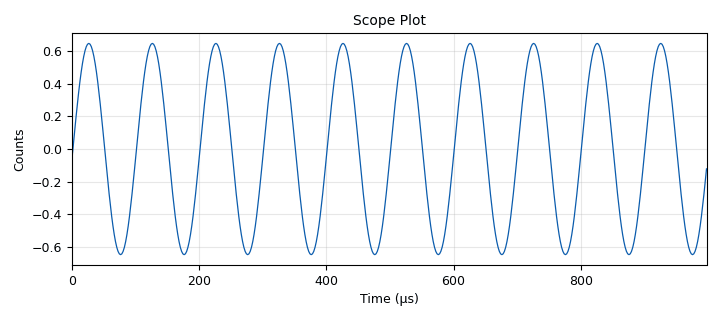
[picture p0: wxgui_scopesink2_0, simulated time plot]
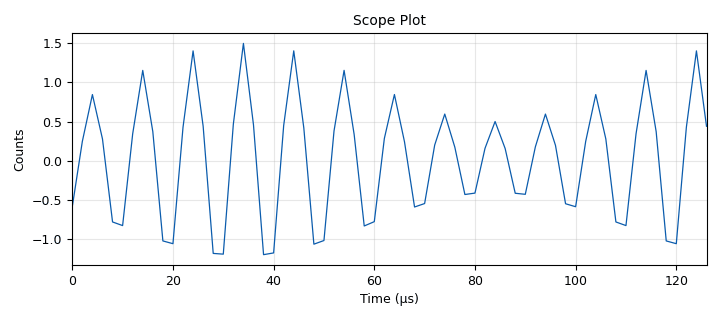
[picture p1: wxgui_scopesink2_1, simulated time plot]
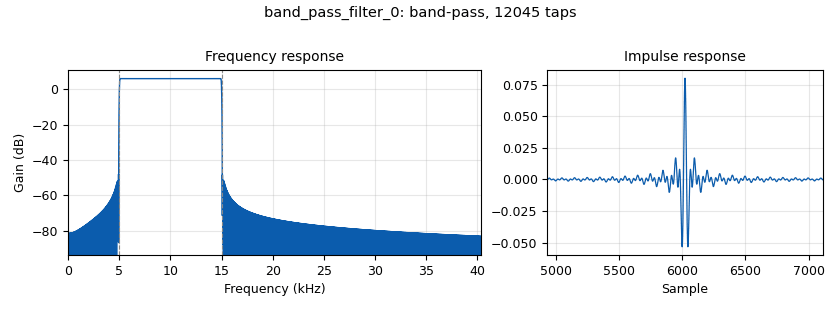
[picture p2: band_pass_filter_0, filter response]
<?xml version='1.0' encoding='utf-8'?>
<?grc format='1' created='3.7.9'?>
<flow_graph>
<block>
<key>options</key>
<param><key>id</key><value>top_block</value></param>
<param><key>category</key><value>Custom</value></param>
<param><key>generate_options</key><value>wx_gui</value></param>
</block>
<block>
<key>variable_slider</key>
<param><key>id</key><value>m</value></param>
<param><key>converver</key><value>float_converter</value></param>
<param><key>value</key><value>0.5</value></param>
<param><key>label</key><value></value></param>
<param><key>max</key><value>1</value></param>
<param><key>min</key><value>0.01</value></param>
<param><key>num_steps</key><value>100</value></param>
<param><key>style</key><value>wx.SL_HORIZONTAL</value></param>
</block>
<block>
<key>variable</key>
<param><key>id</key><value>samp_rate</value></param>
<param><key>value</key><value>500000</value></param>
</block>
<block>
<key>band_pass_filter</key>
<param><key>id</key><value>band_pass_filter_0</value></param>
<param><key>decim</key><value>1</value></param>
<param><key>type</key><value>fir_filter_fff</value></param>
<param><key>gain</key><value>1/m</value></param>
<param><key>high_cutoff_freq</key><value>15000</value></param>
<param><key>low_cutoff_freq</key><value>5000</value></param>
<param><key>samp_rate</key><value>samp_rate</value></param>
<param><key>width</key><value>100</value></param>
<param><key>win</key><value>firdes.WIN_HAMMING</value></param>
</block>
<block>
<key>blocks_abs_xx</key>
<param><key>id</key><value>blocks_abs_xx_0</value></param>
<param><key>type</key><value>float</value></param>
</block>
<block>
<key>blocks_add_xx</key>
<param><key>id</key><value>blocks_add_xx_0</value></param>
<param><key>type</key><value>float</value></param>
</block>
<block>
<key>blocks_multiply_const_vxx</key>
<param><key>id</key><value>blocks_multiply_const_vxx_0</value></param>
<param><key>const</key><value>m</value></param>
<param><key>type</key><value>float</value></param>
</block>
<block>
<key>blocks_multiply_xx</key>
<param><key>id</key><value>blocks_multiply_xx_0</value></param>
<param><key>type</key><value>float</value></param>
</block>
<block>
<key>analog_sig_source_x</key>
<param><key>id</key><value>carrier</value></param>
<param><key>amp</key><value>1</value></param>
<param><key>freq</key><value>100000</value></param>
<param><key>offset</key><value>0</value></param>
<param><key>type</key><value>float</value></param>
<param><key>samp_rate</key><value>samp_rate</value></param>
<param><key>waveform</key><value>analog.GR_COS_WAVE</value></param>
</block>
<block>
<key>analog_sig_source_x</key>
<param><key>id</key><value>message</value></param>
<param><key>amp</key><value>1</value></param>
<param><key>freq</key><value>10000</value></param>
<param><key>offset</key><value>0</value></param>
<param><key>type</key><value>float</value></param>
<param><key>samp_rate</key><value>samp_rate</value></param>
<param><key>waveform</key><value>analog.GR_COS_WAVE</value></param>
</block>
<block>
<key>wxgui_scopesink2</key>
<param><key>id</key><value>wxgui_scopesink2_0</value></param>
<param><key>ac_couple</key><value>False</value></param>
<param><key>num_inputs</key><value>1</value></param>
<param><key>samp_rate</key><value>samp_rate</value></param>
<param><key>t_scale</key><value>0</value></param>
<param><key>title</key><value>Scope Plot</value></param>
<param><key>trig_mode</key><value>wxgui.TRIG_MODE_AUTO</value></param>
<param><key>type</key><value>float</value></param>
<param><key>v_offset</key><value>0</value></param>
<param><key>v_scale</key><value>0</value></param>
<param><key>xy_mode</key><value>False</value></param>
<param><key>y_axis_label</key><value>Counts</value></param>
</block>
<block>
<key>wxgui_scopesink2</key>
<param><key>id</key><value>wxgui_scopesink2_1</value></param>
<param><key>ac_couple</key><value>False</value></param>
<param><key>num_inputs</key><value>1</value></param>
<param><key>samp_rate</key><value>samp_rate</value></param>
<param><key>t_scale</key><value>0</value></param>
<param><key>title</key><value>Scope Plot</value></param>
<param><key>trig_mode</key><value>wxgui.TRIG_MODE_AUTO</value></param>
<param><key>type</key><value>float</value></param>
<param><key>v_offset</key><value>0</value></param>
<param><key>v_scale</key><value>0</value></param>
<param><key>xy_mode</key><value>False</value></param>
<param><key>y_axis_label</key><value>Counts</value></param>
</block>
<connection><source_block_id>band_pass_filter_0</source_block_id><sink_block_id>wxgui_scopesink2_0</sink_block_id><source_key>0</source_key><sink_key>0</sink_key></connection>
<connection><source_block_id>blocks_abs_xx_0</source_block_id><sink_block_id>band_pass_filter_0</sink_block_id><source_key>0</source_key><sink_key>0</sink_key></connection>
<connection><source_block_id>blocks_add_xx_0</source_block_id><sink_block_id>blocks_abs_xx_0</sink_block_id><source_key>0</source_key><sink_key>0</sink_key></connection>
<connection><source_block_id>blocks_add_xx_0</source_block_id><sink_block_id>wxgui_scopesink2_1</sink_block_id><source_key>0</source_key><sink_key>0</sink_key></connection>
<connection><source_block_id>blocks_multiply_const_vxx_0</source_block_id><sink_block_id>blocks_multiply_xx_0</sink_block_id><source_key>0</source_key><sink_key>0</sink_key></connection>
<connection><source_block_id>blocks_multiply_xx_0</source_block_id><sink_block_id>blocks_add_xx_0</sink_block_id><source_key>0</source_key><sink_key>0</sink_key></connection>
<connection><source_block_id>carrier</source_block_id><sink_block_id>blocks_add_xx_0</sink_block_id><source_key>0</source_key><sink_key>1</sink_key></connection>
<connection><source_block_id>carrier</source_block_id><sink_block_id>blocks_multiply_xx_0</sink_block_id><source_key>0</source_key><sink_key>1</sink_key></connection>
<connection><source_block_id>message</source_block_id><sink_block_id>blocks_multiply_const_vxx_0</sink_block_id><source_key>0</source_key><sink_key>0</sink_key></connection>
</flow_graph>
